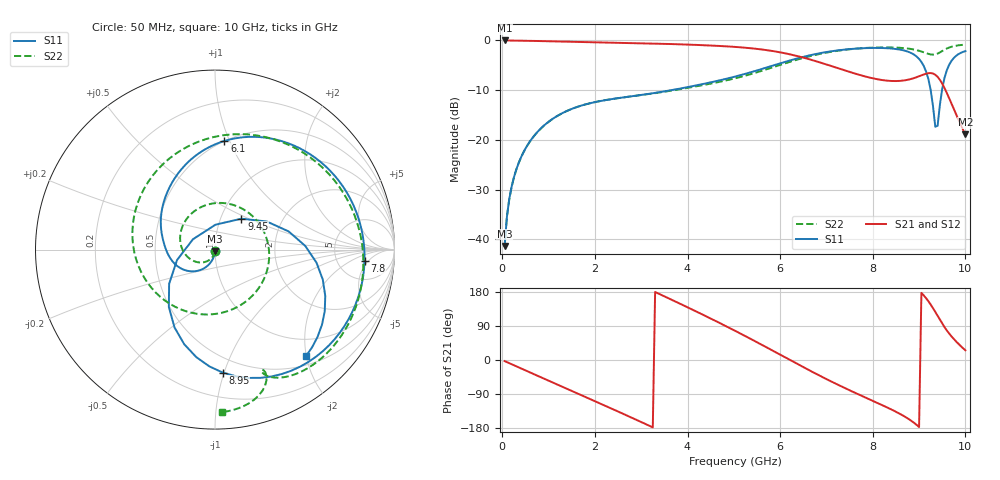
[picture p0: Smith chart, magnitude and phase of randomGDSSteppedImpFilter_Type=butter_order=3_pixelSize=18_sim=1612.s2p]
! freq	dB(S11)	phase(S11)	dB(S12)	phase(S12)
!  dB(S21)	phase(S21)	dB(S22)	phase(S22)
!S-par simulation data
#  GHz  S  DB  R 50
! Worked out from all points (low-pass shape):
!   200 points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, 50 MHz to 10 GHz, reference 50 ohm
!   highest |S21| = -0.01 dB at 50 MHz (marker M1); lowest = -18.9 dB at 10 GHz (marker M2)
!   |S21| within 3 dB of the highest: start of sweep to 6.31 GHz
!   lowest |S11| = -41.3 dB at 50 MHz (marker M3), VSWR 1.02, Z = 50 - j0.858 ohm
!   |S11| at or under -10 dB: start of sweep to 3.648 GHz; 9.251 GHz to 9.495 GHz (243.9 MHz wide, 2.6 % of centre)
!   |S22| runs from -41.3 to -0.9 dB; largest |S21 - S12| = 0
!   S11 on the Smith chart (normalised r, x): 50 MHz: 1.00, -0.02; 6.1 GHz: 0.50, +0.96; 7.8 GHz: 9, -4; 8.95 GHz: 0.38, -0.99; 9.45 GHz: 1.25, +0.45; 10 GHz: 0.66, -2.00
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0.05  -41.33 -90.5  -0.01 -2.8  -0.01 -2.8  -41.35 -92.1
0.2  -29.46 -97.8  -0.02 -11.0  -0.02 -11.0  -29.48 -104.0
0.5  -21.74 -110.2  -0.07 -27.5  -0.07 -27.5  -21.76 -125.7
1.15  -15.38 -134.6  -0.20 -62.8  -0.20 -62.8  -15.39 -172.5
1.75  -12.98 -154.4  -0.34 -95.2  -0.34 -95.2  -12.98 142.4
2.65  -11.41 -177.8  -0.51 -144.2  -0.51 -144.2  -11.41 68.1
3.4  -10.39 166.3  -0.66 173.7  -0.66 173.7  -10.45 0.5
4.3  -8.82 145.5  -0.94 121.4  -0.94 121.4  -9.04 -82.8
5.05  -7.21 124.5  -1.32 75.6  -1.32 75.6  -7.56 -153.8
5.6  -5.75 105.8  -1.81 40.4  -1.81 40.4  -6.12 153.6
6.1  -4.33 85.0  -2.57 7.4  -2.57 7.4  -4.62 107.7
6.7  -2.87 55.6  -3.98 -31.7  -3.98 -31.7  -3.04 58.5
7.25  -1.99 26.1  -5.59 -65.4  -5.59 -65.4  -2.06 20.3
7.8  -1.56 -4.4  -7.15 -96.8  -7.15 -96.8  -1.54 -11.6
8.35  -1.59 -36.9  -8.12 -127.5  -8.12 -127.5  -1.40 -38.5
8.95  -3.26 -86.4  -7.38 -171.5  -7.38 -171.5  -1.96 -63.3
9.25  -9.93 -143.3  -6.56 146.4  -6.56 146.4  -2.81 -69.0
9.35  -17.35 154.8  -6.90 126.7  -6.90 126.7  -2.80 -68.1
9.4  -17.15 88.9  -7.32 116.4  -7.32 116.4  -2.64 -67.7
9.45  -12.90 49.5  -7.93 106.0  -7.93 106.0  -2.40 -67.8
9.7  -4.10 -15.6  -12.70 62.3  -12.70 62.3  -1.27 -75.4
10  -2.16 -49.3  -18.88 25.6  -18.88 25.6  -0.85 -87.4
